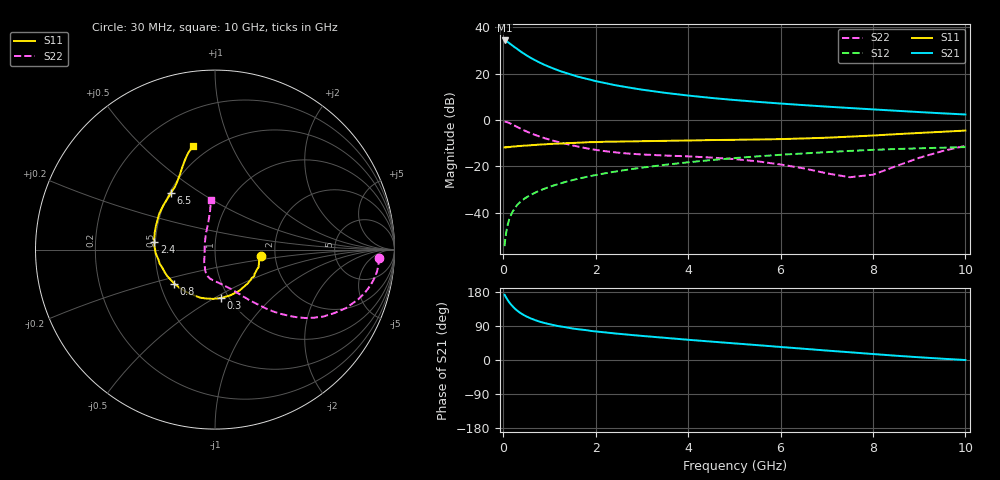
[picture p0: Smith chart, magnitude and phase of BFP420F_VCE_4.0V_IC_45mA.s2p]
! Infineon Technologies  Discrete & RF Semiconductors
! BFP420F
! VCE =  4.0 V,  IC =  45 mA
! Common Emitter S-Parameters:  Sep 2011
# GHz  S  MA  R  50
!  f  S11  S21  S12  S22
! GHz  MAG  ANG  MAG  ANG  MAG  ANG  MAG  ANG
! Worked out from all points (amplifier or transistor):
!   54 points, 30 MHz to 10 GHz, reference 50 ohm
!   highest |S21| = 34.3 dB at 30 MHz (marker M1)
!   |S21| within 3 dB of that: start of sweep to 253.8 MHz
!   unconditionally stable (mu >= 1): 1.373 GHz to end of sweep
!   at 120 MHz: K = 0.46, MSG = 38.4 dB, |S12| = -43.5 dB
!   at 1.3 GHz: K = 0.99, MSG = 23.8 dB, |S12| = -27.0 dB
!   at 10 GHz: K = 1.21, MAG = 4.3 dB, |S12| = -11.7 dB
!   S11 on the Smith chart (normalised r, x): 30 MHz: 1.67, -0.14; 300 MHz: 0.92, -0.54; 800 MHz: 0.59, -0.25; 2.4 GHz: 0.49, +0.05; 6.5 GHz: 0.51, +0.38; 10 GHz: 0.41, +0.73
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0.03  0.2569 -8.6  51.93 172.1  0.0019 82.1  0.9128 -2.8
0.05  0.2535 -14.4  50.67 167.5  0.0029 76.2  0.9137 -6.0
0.07  0.2621 -22.1  49.9 163.7  0.004 77.3  0.9064 -9.0
0.1  0.2585 -31.2  47.96 157.6  0.0057 77.0  0.8869 -13.1
0.12  0.2588 -37.9  46.39 153.8  0.0067 77.3  0.8712 -15.7
0.15  0.2623 -46.5  43.99 149.0  0.0082 76.1  0.8449 -19.1
0.2  0.2664 -59.8  40.4 142.1  0.0104 74.7  0.7989 -24.1
0.25  0.2688 -71.8  36.98 135.8  0.0125 73.6  0.7519 -28.1
0.3  0.272 -82.6  34.16 130.5  0.0146 71.9  0.7097 -31.7
0.4  0.2769 -100.2  28.98 121.8  0.0181 70.4  0.6321 -37.1
0.5  0.28 -113.5  24.96 115.1  0.0214 69.3  0.5678 -41.0
0.6  0.286 -124.2  21.72 109.5  0.0244 68.8  0.5143 -44.2
0.8  0.2954 -140.2  17.11 100.7  0.0303 68.5  0.4354 -49.0
1.2  0.3091 -159.5  11.64 89.3  0.0418 68.2  0.3332 -56.4
1.7  0.3257 -173.9  8.19 80.1  0.0563 67.1  0.2564 -64.6
2.4  0.3399 173.0  5.688 70.3  0.0765 64.3  0.2018 -77.3
3.5  0.355 158.0  3.855 58.5  0.1081 59.0  0.1713 -93.8
5.5  0.3798 138.8  2.463 39.2  0.1642 46.6  0.1285 -115.2
6.5  0.4 128.0  2.094 29.7  0.1903 39.9  0.0907 -131.8
7  0.4148 122.5  1.943 24.9  0.2026 36.5  0.0708 -145.9
8.5  0.4944 111.6  1.583 11.3  0.2366 25.7  0.1011 120.1
10  0.5915 102.0  1.315 -0.0  0.2605 16.2  0.2774 94.6
